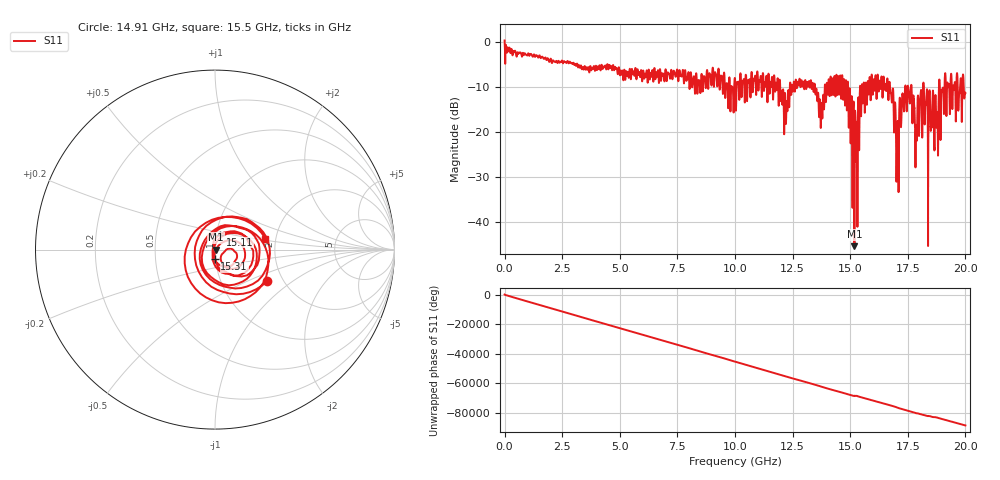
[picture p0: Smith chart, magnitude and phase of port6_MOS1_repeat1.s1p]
! MS46122B
! 2250307/22442219
! 7/28/2025 2:11:21 PM
! C:\USERS\SPARKY\DOCUMENTS\VNA_DATA\JULY28_2025\3K\PORT6_MOS1_REPEAT1.S1P
! CHANNEL.1
! TR.MEASUREMENT
! RAW.DATA
# GHZ S RI R 50.0
! FREQ.GHZ  S11RE  S11IM
!; PortSelection: Port_1
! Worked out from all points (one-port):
!   10001 points, 1 MHz to 20 GHz, reference 50 ohm
!   lowest |S11| = -45.4 dB at 15.18 GHz (marker M1), VSWR 1.01, Z = 50.5 + j0.0295 ohm
!   |S11| at or under -10 dB: 14.91 GHz to 15.43 GHz (515.8 MHz wide, 3.4 % of centre); 16.73 GHz to 17.39 GHz (657.2 MHz wide, 3.85 % of centre); 18.2 GHz to 18.85 GHz (651.9 MHz wide, 3.52 % of centre) (the widest 3 of 85)
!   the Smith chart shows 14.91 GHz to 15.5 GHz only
!   S11 on the Smith chart (normalised r, x): 14.91 GHz: 1.66, -0.66; 15.11 GHz: 1.04, +0.18; 15.31 GHz: 0.99, -0.11; 15.5 GHz: 1.76, +0.23
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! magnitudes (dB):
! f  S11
! 1 MHz  0.4
! 2.501 GHz  -4.1
! 5.001 GHz  -7.3
! 7.501 GHz  -6.3
! 9.213 GHz  -8.5
! 10 GHz  -8.1
! 11.77 GHz  -9.0
! 12.2 GHz  -16.6
! 12.5 GHz  -10.5
! 13.37 GHz  -9.0
! 13.72 GHz  -19.0
! 14.07 GHz  -8.4
! 14.91 GHz  -9.4
! 15 GHz  -13.4
! 15.11 GHz  -21.1
! 15.18 GHz  -45.4
! 15.31 GHz  -25.5
! 15.5 GHz  -10.8
! 16.53 GHz  -9.3
! 16.78 GHz  -11.8
! 17.04 GHz  -21.2
! 17.22 GHz  -17.5
! 17.5 GHz  -9.7
! 17.9 GHz  -19.7
! 18.11 GHz  -17.3
! 18.73 GHz  -16.7
! 19.05 GHz  -12.6
! 20 GHz  -11.3
